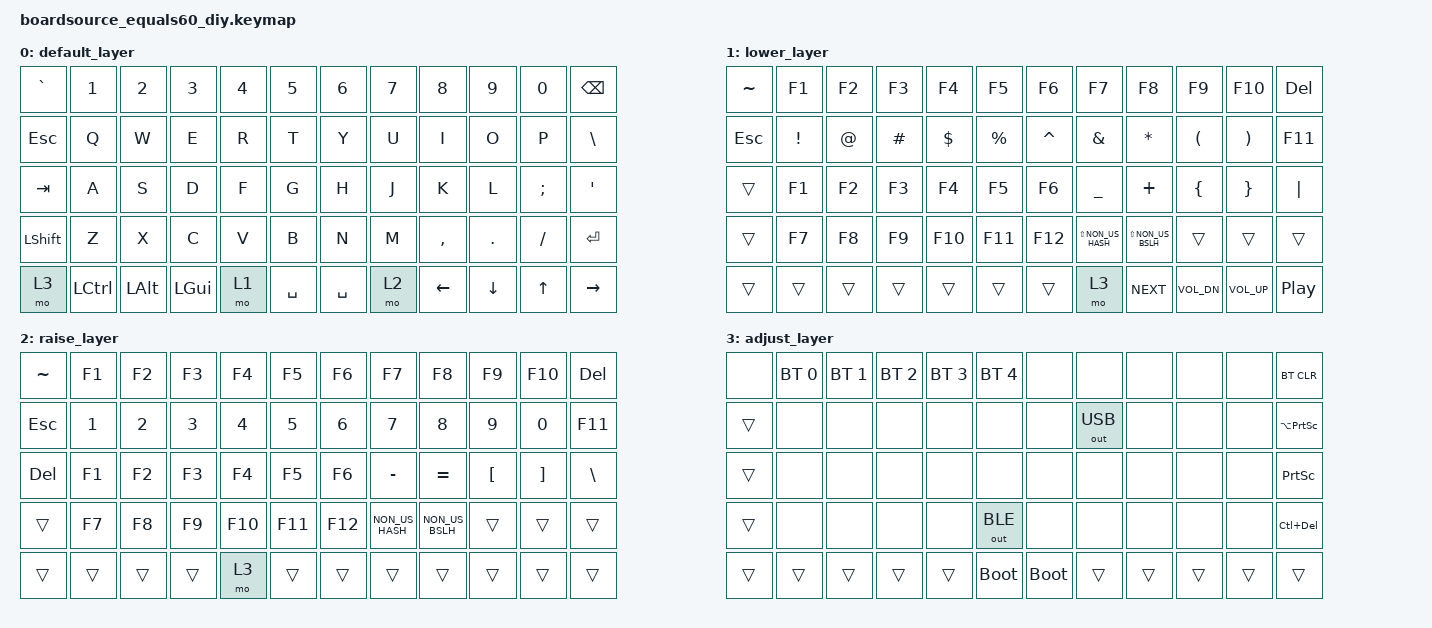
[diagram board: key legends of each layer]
/*
 * Copyright (c) 2021 The ZMK Contributors
 *
 * SPDX-License-Identifier: MIT
 */

#include <behaviors.dtsi>
#include <dt-bindings/zmk/keys.h>
#include <dt-bindings/zmk/bt.h>
#include <dt-bindings/zmk/outputs.h>


/ {
    keymap {
        compatible = "zmk,keymap";

        default_layer {
            // Matches the keycaps on the DIY board: grave row on top, Esc on
            // the QWERTY row, Tab on the home row, Shift on the bottom letter
            // row, FN (adjust) bottom-left.
            // ------------------------------------------------------------------------------------------
            // | GRAVE |  1   |  2   |  3   |  4   |  5   |   6   |  7    |  8   |  9   |   0   | BSPC  |
            // |  ESC  |  Q   |  W   |  E   |  R   |  T   |   Y   |  U    |  I   |  O   |   P   |  \    |
            // |  TAB  |  A   |  S   |  D   |  F   |  G   |   H   |  J    |  K   |  L   |   ;   |  '    |
            // | SHIFT |  Z   |  X   |  C   |  V   |  B   |   N   |  M    |  ,   |  .   |   /   | ENTER |
            // |ADJUST | LCTL | LALT | LGUI | LOWR | SPACE| SPACE |  RAIS | LEFT | DOWN |  UP   | RIGHT |
            bindings = <
                &kp GRAVE  &kp N1       &kp N2      &kp N3   &kp N4     &kp N5      &kp N6      &kp N7  &kp N8      &kp N9      &kp N0      &kp BSPC
                &kp ESC    &kp Q        &kp W       &kp E    &kp R      &kp T       &kp Y       &kp U   &kp I       &kp O       &kp P       &kp BSLH
                &kp TAB    &kp A        &kp S       &kp D    &kp F      &kp G       &kp H       &kp J   &kp K       &kp L       &kp SEMI    &kp SQT
                &kp LSHFT  &kp Z        &kp X       &kp C    &kp V      &kp B       &kp N       &kp M   &kp COMMA   &kp DOT     &kp FSLH    &kp RET
                &mo 3      &kp LCTRL    &kp LALT    &kp LGUI &mo 1      &kp SPACE   &kp SPACE   &mo 2   &kp LEFT    &kp DOWN    &kp UP      &kp RIGHT
            >;
        };

        lower_layer {
            // -------------------------------------------------------------------------------------------
            // |   ~   |  F1  |  F2  |  F3  |  F4  |  F5  |   F6  |  F7   |  F8  |  F9  |  F10  |  DEL  |
            // |  ESC  |  !   |  @   |  #   |  $   |  %   |   ^   |   &   |  *   |  (   |   )   |  F11  |
            // |       |  F1  |  F2  |  F3  |  F4  |  F5  |   F6  |   _   |  +   |  {   |   }   |   |   |
            // |       |  F7  |  F8  |  F9  |  F10 |  F11 |   F12 | LS(#) |LS(|) |      |       |       |
            // |       |      |      |      |      |      |       |       | NEXT | Vol- | Vol+ | PLAY   |
            bindings = <
                &kp TILDE &kp F1   &kp F2   &kp F3   &kp F4    &kp F5       &kp F6          &kp F7              &kp F8              &kp F9       &kp F10          &kp DEL
                &kp ESC   &kp EXCL &kp AT   &kp HASH &kp DLLR  &kp PRCNT    &kp CARET       &kp AMPS            &kp ASTRK           &kp LPAR     &kp RPAR         &kp F11
                &trans    &kp F1   &kp F2   &kp F3   &kp F4    &kp F5       &kp F6          &kp UNDER           &kp PLUS            &kp LBRC     &kp RBRC         &kp PIPE
                &trans    &kp F7   &kp F8   &kp F9   &kp F10   &kp F11      &kp F12         &kp LS(NON_US_HASH) &kp LS(NON_US_BSLH) &trans       &trans           &trans
                &trans    &trans   &trans   &trans   &trans    &trans       &trans          &mo 3               &kp C_NEXT          &kp C_VOL_DN &kp C_VOL_UP     &kp C_PLAY_PAUSE
            >;
        };

        raise_layer {
            // ------------------------------------------------------------------------------------------
            // |   ~   |  F1  |  F2  |  F3  |  F4  |  F5  |  F6   |  F7   |  F8  |  F9  |  F10  |  DEL  |
            // |  ESC  |  1   |  2   |  3   |  4   |  5   |  6    |   7   |  8   |  9   |   0   |  F11  |
            // |  DEL  |  F1  |  F2  |  F3  |  F4  |  F5  |  F6   |   -   |  =   |  [   |   ]   |   \   |
            // |       |  F7  |  F8  |  F9  |  F10 |  F11 |  F12  |   #   |  |   |      |       |       |
            // |       |      |      |      |      |      |       |       |       |      |      |       |
            bindings = <
                &kp TILDE &kp F1   &kp F2   &kp F3   &kp F4    &kp F5  &kp F6    &kp F7          &kp F8          &kp F9       &kp F10          &kp DEL
                &kp ESC   &kp N1   &kp N2   &kp N3   &kp N4    &kp N5  &kp N6    &kp N7          &kp N8          &kp N9       &kp N0           &kp F11
                &kp DEL   &kp F1   &kp F2   &kp F3   &kp F4    &kp F5  &kp F6    &kp MINUS       &kp EQUAL       &kp LBKT     &kp RBKT         &kp BSLH
                &trans    &kp F7   &kp F8   &kp F9   &kp F10   &kp F11 &kp F12   &kp NON_US_HASH &kp NON_US_BSLH &trans       &trans           &trans
                &trans    &trans   &trans   &trans   &mo 3     &trans  &trans    &trans          &trans          &trans       &trans           &trans
            >;
        };

        adjust_layer {
            // Hold the bottom-left key (ADJUST). Bluetooth lives here, on a held
            // layer, so there is no toggled state you can get stuck in.
            //
            // Pair a new computer:  Adjust+N (pick slot 1-5), Adjust+Bspc (clear
            // that slot -> keyboard now advertises for pairing), then forget the
            // keyboard on the computer and pair it again from scratch.
            // Switch computers:     Adjust+N.
            // Keys dead over BT?    Adjust+B forces Bluetooth output (plugging in
            //                       USB makes ZMK prefer USB). Adjust+U goes back.
            // ------------------------------------------------------------------------------------------
            // |       | BT 1 | BT 2 | BT 3 | BT 4 | BT 5 |      |      |      |      |      | BT CLR    |
            // |       |      |      |      |      |      |      | USB  |      |      |      |LALT(PRTSN)|
            // |       |      |      |      |      |      |      |      |      |      |      |   PRTSN   |
            // |       |      |      |      |      | BLE  |      |      |      |      |      |LCTRL(DEL) |
            // |       |      |      |      |      |BOOTLD|BOOTLD|      |      |      |      |           |
            bindings = <
                &none  &bt BT_SEL 0 &bt BT_SEL 1 &bt BT_SEL 2 &bt BT_SEL 3 &bt BT_SEL 4 &none       &none        &none  &none  &none  &bt BT_CLR
                &trans &none        &none        &none        &none        &none        &none       &out OUT_USB &none  &none  &none  &kp LA(PSCRN)
                &trans &none        &none        &none        &none        &none        &none       &none        &none  &none  &none  &kp PSCRN
                &trans &none        &none        &none        &none        &out OUT_BLE &none       &none        &none  &none  &none  &kp LC(DEL)
                &trans &trans       &trans       &trans       &trans       &bootloader  &bootloader &trans       &trans &trans &trans &trans
            >;
        };
    };
};
